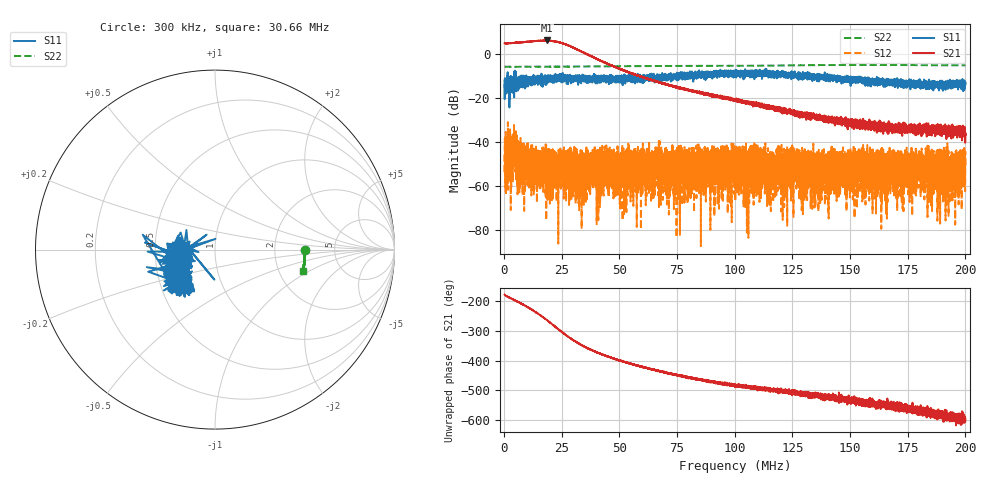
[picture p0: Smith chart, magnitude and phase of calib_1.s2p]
# Hz S DB R 50
! CMT, M5065, 19127446, 24.2.4/2
! Date: 11/8/2024 3:33:35 PM
! Data: Format (Calibration Info)
! Freq	S11:dB/Ang(F2)	S21:dB/Ang(F2)	S12:dB/Ang(F2)	S22:dB/Ang(F2)
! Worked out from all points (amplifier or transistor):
!   9000 points, 300 kHz to 200 MHz, reference 50 ohm
!   highest |S21| = 5.9 dB at 18.59 MHz (marker M1)
!   |S21| within 3 dB of that: start of sweep to 29.56 MHz
!   unconditionally stable (mu >= 1): start of sweep to end of sweep
!   at 33.59 MHz: K = 100.63, MAG = 2.4 dB, |S12| = -50.1 dB
!   at 100.2 MHz: K = 932.98, MAG = -19.1 dB, |S12| = -48.3 dB
!   at 200 MHz: K = 8340.18, MAG = -34.8 dB, |S12| = -51.3 dB
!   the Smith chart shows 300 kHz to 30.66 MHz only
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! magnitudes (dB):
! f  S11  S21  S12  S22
! 300 kHz  -12.2  4.6  -45.7  -6.0
! 4.65 MHz  -13.7  4.8  -49.7  -6.0
! 8.733 MHz  -13.3  5.2  -65.9  -6.0
! 18.59 MHz  -10.9  5.9  -47.4  -6.0
! 33.59 MHz  -12.6  0.9  -50.1  -5.8
! 39.07 MHz  -9.2  -1.7  -45.7  -5.8
! 41.09 MHz  -11.7  -2.9  -66.8  -5.8
! 44.22 MHz  -12.1  -4.4  -53.5  -5.8
! 62.37 MHz  -11.3  -11.4  -46.2  -5.7
! 66.87 MHz  -11.3  -12.9  -43.1  -5.7
! 74.55 MHz  -9.4  -15.1  -51.7  -5.6
! 77.46 MHz  -10.2  -16.0  -50.6  -5.6
! 85.03 MHz  -10.3  -17.9  -61.3  -5.6
! 87.36 MHz  -9.9  -18.3  -57.1  -5.6
! 100.2 MHz  -9.2  -21.0  -48.3  -5.6
! 115.7 MHz  -9.8  -24.0  -48.9  -5.5
! 133.4 MHz  -11.4  -28.2  -45.6  -5.3
! 166.7 MHz  -11.7  -34.3  -52.9  -5.2
! 173.1 MHz  -15.3  -31.6  -63.6  -5.2
! 183.8 MHz  -14.5  -33.7  -45.2  -5.3
! 191.1 MHz  -13.6  -35.2  -47.4  -5.3
! 200 MHz  -13.6  -36.5  -51.3  -5.4
